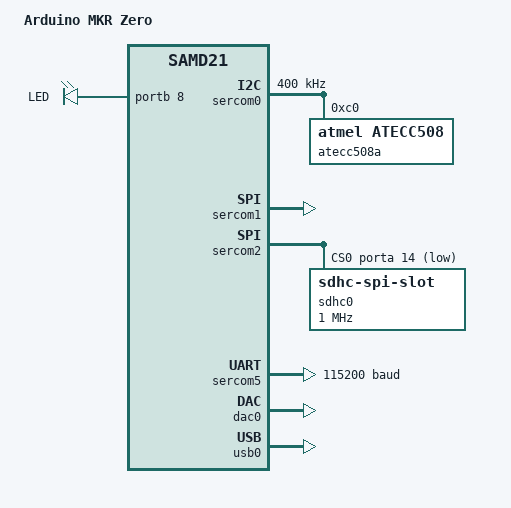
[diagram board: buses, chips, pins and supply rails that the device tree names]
/*
 * Copyright (c) 2022 TOKITA Hiroshi <tokita.hiroshi@fujitsu.com>
 *
 * SPDX-License-Identifier: Apache-2.0
 */

/dts-v1/;
#include <atmel/samd21.dtsi>
#include <atmel/samx2xx18.dtsi>
#include "arduino_mkrzero-pinctrl.dtsi"
#include "arduino_mkr_connector.dtsi"

/ {
	model = "Arduino MKR Zero";
	compatible = "arduino,mkrzero";

	chosen {
		zephyr,console = &sercom5;
		zephyr,shell-uart = &sercom5;
		zephyr,sram = &sram0;
		zephyr,flash = &flash0;
		zephyr,code-partition = &code_partition;
	};

	leds {
		compatible = "gpio-leds";
		led0: led_0 {
			gpios = <&portb 8 0>;
			label = "LED";
		};
	};

	aliases {
		led0 = &led0;
		sdhc0 = &sdhc0;
	};
};

&cpu0 {
	clock-frequency = <48000000>;
};

&sercom0 {
	status = "okay";
	compatible = "atmel,sam0-i2c";
	clock-frequency = <I2C_BITRATE_FAST>;
	#address-cells = <1>;
	#size-cells = <0>;

	pinctrl-0 = <&sercom0_i2c_default>;
	pinctrl-names = "default";

	atecc508a@c0 {
		compatible = "atmel,atecc508";
		reg = <0xc0>;
	};

};

&sercom1 {
	status = "okay";
	compatible = "atmel,sam0-spi";
	dipo = <3>;
	dopo = <0>;
	#address-cells = <1>;
	#size-cells = <0>;

	pinctrl-0 = <&sercom1_spi_default>;
	pinctrl-names = "default";
};

&sercom2 {
	status = "okay";
	compatible = "atmel,sam0-spi";
	dipo = <3>;
	dopo = <0>;
	#address-cells = <1>;
	#size-cells = <0>;

	pinctrl-0 = <&sercom2_spi_default>;
	pinctrl-names = "default";

	cs-gpios = <&porta 14 GPIO_ACTIVE_LOW>;

	sdhc0: sdhc@0 {
		compatible = "zephyr,sdhc-spi-slot";
		reg = <0>;
		status = "okay";
		spi-max-frequency = <1000000>;
		mmc {
			compatible = "zephyr,sdmmc-disk";
			status = "okay";
			disk-name = "SDMMC";
		};
	};
};

&sercom5 {
	status = "okay";
	compatible = "atmel,sam0-uart";
	current-speed = <115200>;
	rxpo = <3>;
	txpo = <1>;

	pinctrl-0 = <&sercom5_uart_default>;
	pinctrl-names = "default";
};

&dac0 {
	status = "okay";

	pinctrl-0 = <&dac_default>;
	pinctrl-names = "default";
};

&flash0 {
	partitions {
		compatible = "fixed-partitions";
		#address-cells = <1>;
		#size-cells = <1>;

		boot_partition: partition@0 {
			label = "bootloader";
			reg = <0x00000000 0x2000>;
			read-only;
		};

		code_partition: partition@2000 {
			label = "code";
			reg = <0x2000 0x3A000>;
			read-only;
		};

		/*
		 * The final 16 KiB is reserved for the application.
		 * Storage partition will be used by FCB/LittleFS/NVS
		 * if enabled.
		 */
		storage_partition: partition@3c000 {
			label = "storage";
			reg = <0x0003c000 0x00004000>;
		};
	};
};

zephyr_udc0: &usb0 {
	status = "okay";

	pinctrl-0 = <&usb_dc_default>;
	pinctrl-names = "default";
};
